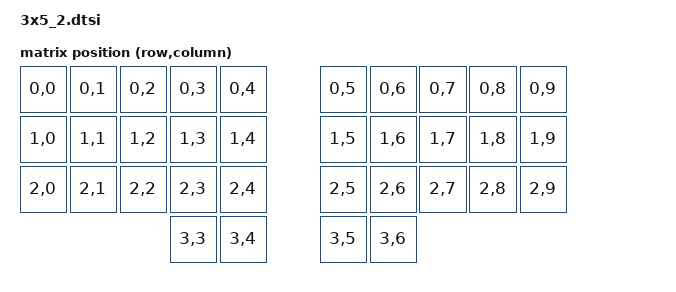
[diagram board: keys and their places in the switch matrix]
/*
 * Copyright (c) 2020 The ZMK Contributors
 *
 * SPDX-License-Identifier: MIT
 */

#include <dt-bindings/zmk/matrix_transform.h>

/*
╭──────────────╮ ╭──────────────╮
│ 0  1  2  3  4│ │ 5  6  7  8  9│
│10 11 12 13 14│ │15 16 17 18 19│
│20 21 22 23 24│ │25 26 27 28 29│
╰────────╮30 31│ │32 33╭────────╯
         ╰─────╯ ╰─────╯  
*/

/ {

	chosen {
        zmk,kscan = &kscan0;
        zmk,matrix_transform = &default_transform;
    };

    default_transform: keymap_transform_0 {
        compatible = "zmk,matrix-transform";
        columns = <10>;
        rows = <4>;

		map = <
            RC(0,0)     RC(0,1)     RC(0,2)     RC(0,3)     RC(0,4)         RC(0,5)     RC(0,6)     RC(0,7)     RC(0,8 )    RC(0,9)
            RC(1,0)     RC(1,1)     RC(1,2)     RC(1,3)     RC(1,4)         RC(1,5)     RC(1,6)     RC(1,7)     RC(1,8)     RC(1,9)
            RC(2,0)     RC(2,1)     RC(2,2)     RC(2,3)     RC(2,4)         RC(2,5)     RC(2,6)     RC(2,7)     RC(2,8)     RC(2,9)
                                                RC(3,3)     RC(3,4)         RC(3,5)     RC(3,6)
        >;
	};

	kscan0: kscan {
        compatible = "zmk,kscan-gpio-matrix";
        label = "KSCAN";
        diode-direction = "col2row";
    };

    bootloader_key_left: bootloader_key_left {
        compatible = "zmk,boot-magic-key";
        key-position = <0>;
        jump-to-bootloader;
        status = "disabled";
    };
    bootloader_key_right: bootloader_key_right {
        compatible = "zmk,boot-magic-key";
        key-position = <9>;
        jump-to-bootloader;
        status = "disabled";
    };
};
